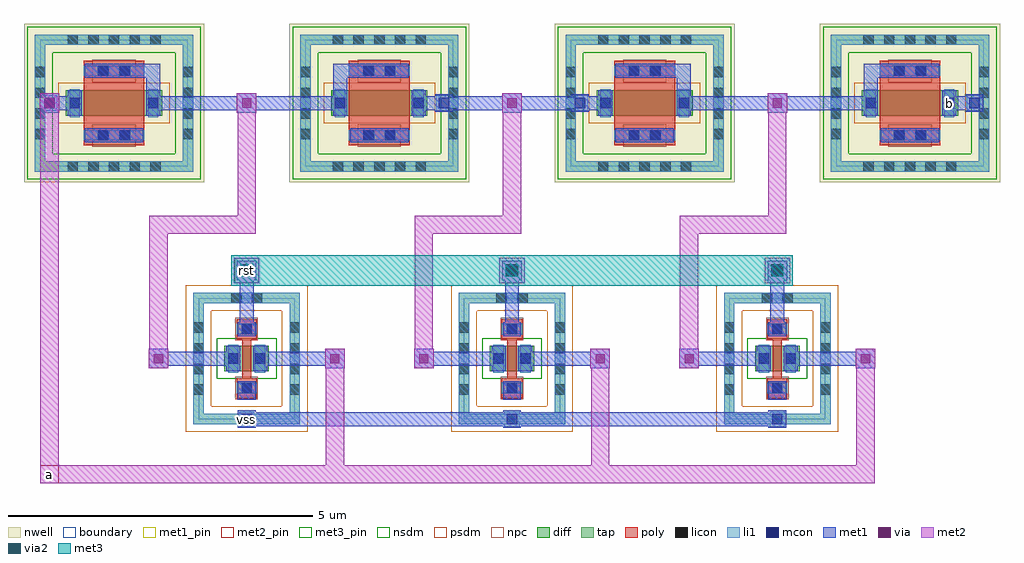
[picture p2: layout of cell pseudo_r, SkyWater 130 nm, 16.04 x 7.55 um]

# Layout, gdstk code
from math import pi, radians
import gdstk
lib = gdstk.Library(unit=1e-6, precision=1e-09)
def R(c, l, rs):  # rectangles x0, y0, x1, y1
    for r in rs: c.add(gdstk.rectangle(r[:2], r[2:], *l))
def A(c, l, x, y, w, h, nx, ny, dx, dy):  # array of equal rectangles
    R(c, l, [(x+i*dx, y+j*dy, x+i*dx+w, y+j*dy+h) for i in range(nx) for j in range(ny)])
nwell = (64, 20)
diff = (65, 20)
tap = (65, 44)
poly = (66, 20)
licon = (66, 44)
li1 = (67, 20)
mcon = (67, 44)
met1_pin = (68, 16)
met1 = (68, 20)
via = (68, 44)
met2_pin = (69, 16)
met2 = (69, 20)
via2 = (69, 44)
met3_pin = (70, 16)
met3 = (70, 20)
nsdm = (93, 44)
psdm = (94, 20)
npc = (95, 20)
boundary = (235, 4)

n042_015 = lib.new_cell('n042_015')
R(n042_015, diff, [(-0.365,-0.21,0.365,0.21)])
R(n042_015, tap, [(-0.875,-1.08,0.875,-0.91), (-0.875,-0.91,-0.705,0.91), (0.705,-0.91,0.875,0.91), (-0.875,0.91,0.875,1.08)])
R(n042_015, poly, [(-0.165,-0.65,0.165,-0.32), (-0.075,-0.32,0.075,0.32), (-0.165,0.32,0.165,0.65)])
A(n042_015, licon, -0.875, -0.595, 0.17, 0.17, 1, 4, 0, 0.34)
A(n042_015, licon, 0.705, -0.595, 0.17, 0.17, 1, 4, 0, 0.34)
R(n042_015, licon, [(-0.085,-0.57,0.085,-0.4), (-0.305,-0.085,-0.135,0.085), (0.135,-0.085,0.305,0.085), (-0.085,0.4,0.085,0.57), (-0.255,0.91,-0.085,1.08), (0.085,0.91,0.255,1.08)])
R(n042_015, li1, [(-0.875,-1.08,0.875,-0.91), (-0.875,-0.91,-0.705,0.91), (0.705,-0.91,0.875,0.91), (-0.165,-0.57,0.165,-0.4), (-0.305,-0.23,-0.135,0.23), (0.135,-0.23,0.305,0.23), (-0.165,0.4,0.165,0.57), (-0.875,0.91,0.875,1.08)])
R(n042_015, mcon, [(-0.085,-0.57,0.085,-0.4), (-0.305,-0.085,-0.135,0.085), (0.135,-0.085,0.305,0.085), (-0.085,0.4,0.085,0.57)])
R(n042_015, met1, [(-0.145,-0.6,0.145,-0.37), (-0.335,-0.21,-0.105,0.21), (0.105,-0.21,0.335,0.21), (-0.145,0.37,0.145,0.6)])
R(n042_015, nsdm, [(-0.49,-0.335,0.49,0.335)])
R(n042_015, psdm, [(-1,-1.205,1,-0.785), (-1,-0.785,-0.58,0.785), (0.58,-0.785,1,0.785), (-1,0.785,1,1.205)])
R(n042_015, npc, [(-0.185,-0.67,0.185,-0.3), (-0.185,0.3,0.185,0.67)])
R(n042_015, boundary, [(-0.79,-0.995,0.79,0.995)])
n042_015.add(gdstk.Label('B', (0,-0.995), layer=65, texttype=5))
n042_015.add(gdstk.Label('D', (-0.22,0), layer=67, texttype=5))
n042_015.add(gdstk.Label('S', (0.22,0), layer=67, texttype=5))
n042_015.add(gdstk.Label('G', (0,0.485), layer=67, texttype=5))

p042_1 = lib.new_cell('p042_1')
R(p042_1, nwell, [(-1.48,-1.305,1.48,1.305)])
R(p042_1, diff, [(-0.79,-0.21,0.79,0.21)])
R(p042_1, tap, [(-1.3,-1.125,1.3,-0.955), (-1.3,-0.955,-1.13,0.955), (1.13,-0.955,1.3,0.955), (-1.3,0.955,1.3,1.125)])
R(p042_1, poly, [(-0.5,-0.695,0.5,0.695)])
A(p042_1, licon, -0.765, -1.125, 0.17, 0.17, 5, 2, 0.34, 2.08)
A(p042_1, licon, -1.3, -0.595, 0.17, 0.17, 1, 4, 0, 0.34)
A(p042_1, licon, 1.13, -0.595, 0.17, 0.17, 1, 4, 0, 0.34)
R(p042_1, licon, [(-0.255,-0.615,-0.085,-0.445), (0.085,-0.615,0.255,-0.445), (-0.73,-0.085,-0.56,0.085), (0.56,-0.085,0.73,0.085), (-0.255,0.445,-0.085,0.615), (0.085,0.445,0.255,0.615)])
R(p042_1, li1, [(-1.3,-1.125,1.3,-0.955), (-1.3,-0.955,-1.13,0.955), (1.13,-0.955,1.3,0.955), (-0.5,-0.615,0.5,-0.445), (-0.73,-0.23,-0.56,0.23), (0.56,-0.23,0.73,0.23), (-0.5,0.445,0.5,0.615), (-1.3,0.955,1.3,1.125)])
R(p042_1, mcon, [(-0.265,-0.615,-0.095,-0.445), (0.095,-0.615,0.265,-0.445), (-0.73,-0.085,-0.56,0.085), (0.56,-0.085,0.73,0.085), (-0.265,0.445,-0.095,0.615), (0.095,0.445,0.265,0.615)])
R(p042_1, met1, [(-0.48,-0.645,0.48,-0.415), (-0.76,-0.21,-0.53,0.21), (0.53,-0.21,0.76,0.21), (-0.48,0.415,0.48,0.645)])
R(p042_1, nsdm, [(-1.425,-1.25,1.425,-0.83), (-1.425,-0.83,-1.005,0.83), (1.005,-0.83,1.425,0.83), (-1.425,0.83,1.425,1.25)])
R(p042_1, psdm, [(-0.915,-0.335,0.915,0.335)])
R(p042_1, npc, [(-0.355,-0.715,0.355,-0.345), (-0.355,0.345,0.355,0.715)])
R(p042_1, boundary, [(-1.215,-1.04,1.215,1.04)])
p042_1.add(gdstk.Label('B', (0,-1.04), layer=67, texttype=5))
p042_1.add(gdstk.Label('D', (-0.645,0), layer=67, texttype=5))
p042_1.add(gdstk.Label('S', (0.645,0), layer=67, texttype=5))
p042_1.add(gdstk.Label('G', (0,0.53), layer=67, texttype=5))

pseudo_r = lib.new_cell('pseudo_r')
A(pseudo_r, li1, 2.055, -5.32, 0.25, 0.25, 3, 1, 4.36, 0)
R(pseudo_r, li1, [(-1.185,-0.125,-0.935,0.125), (5.295,-0.125,5.545,0.125), (7.535,-0.125,7.785,0.125), (14.015,-0.125,14.265,0.125)])
A(pseudo_r, mcon, 2.095, -5.28, 0.17, 0.17, 3, 1, 4.36, 0)
R(pseudo_r, mcon, [(-1.145,-0.085,-0.975,0.085), (5.335,-0.085,5.505,0.085), (7.575,-0.085,7.745,0.085), (14.055,-0.085,14.225,0.085)])
R(pseudo_r, met1_pin, [(2.08,-5.295,2.28,-5.095), (13.61,-0.1,13.84,0.1)])
A(pseudo_r, met1, 2.035, -5.34, 0.29, 0.03, 3, 2, 4.36, 0.26)
A(pseudo_r, met1, 2.035, -4.88, 0.29, 0.31, 3, 1, 4.36, 0)
A(pseudo_r, met1, 2.065, -3.83, 0.23, 0.92, 3, 1, 4.36, 0)
A(pseudo_r, met1, 2.02, -2.91, 0.32, 0.32, 3, 1, 4.36, 0)
A(pseudo_r, met1, 2.02, -0.16, 0.32, 0.045, 3, 2, 4.36, 0.275)
A(pseudo_r, met1, 0.53, -0.115, 3.3, 0.23, 3, 1, 4.36, 0)
R(pseudo_r, met1, [(2.035,-5.31,11.045,-5.08), (0.57,-4.36,0.89,-4.315), (3.47,-4.36,3.79,-4.315), (4.93,-4.36,5.25,-4.315), (7.83,-4.36,8.15,-4.315), (9.29,-4.36,9.61,-4.315), (12.19,-4.36,12.51,-4.315), (0.57,-4.315,2.075,-4.085), (2.285,-4.315,3.79,-4.085), (4.93,-4.315,6.435,-4.085), (6.645,-4.315,8.15,-4.085), (9.29,-4.315,10.795,-4.085), (11.005,-4.315,12.51,-4.085), (0.57,-4.085,0.89,-4.04), (3.47,-4.085,3.79,-4.04), (4.93,-4.085,5.25,-4.04), (7.83,-4.085,8.15,-4.04), (9.29,-4.085,9.61,-4.04), (12.19,-4.085,12.51,-4.04), (0.53,-0.21,0.76,-0.115), (3.6,-0.21,3.83,-0.115), (9.25,-0.21,9.48,-0.115), (12.32,-0.21,12.55,-0.115), (-1.22,-0.16,-0.9,-0.115), (5.275,-0.145,5.565,-0.115), (7.515,-0.145,7.805,-0.115), (13.995,-0.145,14.285,-0.115), (-1.22,-0.115,-0.53,0.115), (13.61,-0.115,14.285,0.115), (-1.22,0.115,-0.9,0.16), (0.53,0.115,0.76,0.415), (3.6,0.115,3.83,0.415), (5.275,0.115,5.565,0.145), (7.515,0.115,7.805,0.145), (9.25,0.115,9.48,0.415), (12.32,0.115,12.55,0.415), (13.995,0.115,14.285,0.145), (0.43,0.415,0.76,0.645), (3.6,0.415,3.93,0.645), (9.15,0.415,9.48,0.645), (12.32,0.415,12.65,0.645)])
A(pseudo_r, via, 2.105, -2.825, 0.15, 0.15, 3, 2, 4.36, 2.75)
R(pseudo_r, via, [(0.655,-4.275,0.805,-4.125), (3.555,-4.275,3.705,-4.125), (5.015,-4.275,5.165,-4.125), (7.915,-4.275,8.065,-4.125), (9.375,-4.275,9.525,-4.125), (12.275,-4.275,12.425,-4.125), (-1.135,-0.075,-0.985,0.075)])
R(pseudo_r, met2_pin, [(-1.21,-6.25,-0.91,-5.95)])
A(pseudo_r, met2, 3.48, -5.95, 0.3, 1.59, 3, 1, 4.36, 0)
A(pseudo_r, met2, 0.58, -4.04, 0.3, 1.89, 3, 1, 4.36, 0)
A(pseudo_r, met2, 1.97, -2.96, 0.42, 0.42, 3, 1, 4.36, 0)
A(pseudo_r, met2, 0.58, -2.15, 1.75, 0.3, 3, 1, 4.36, 0)
A(pseudo_r, met2, 2.03, -1.85, 0.3, 1.69, 3, 1, 4.36, 0)
A(pseudo_r, met2, 2.02, -0.16, 0.32, 0.32, 3, 1, 4.36, 0)
R(pseudo_r, met2, [(-1.21,-6.25,12.5,-5.95), (-1.21,-5.95,-0.91,-0.16), (0.57,-4.36,0.89,-4.04), (3.47,-4.36,3.79,-4.04), (4.93,-4.36,5.25,-4.04), (7.83,-4.36,8.15,-4.04), (9.29,-4.36,9.61,-4.04), (12.19,-4.36,12.51,-4.04), (-1.22,-0.16,-0.9,0.16)])
A(pseudo_r, via2, 2.08, -2.85, 0.2, 0.2, 3, 1, 4.36, 0)
R(pseudo_r, met3_pin, [(1.98,-2.95,2.38,-2.55)])
R(pseudo_r, met3, [(1.93,-3,11.15,-2.5)])
pseudo_r.add(gdstk.Reference(n042_015, (10.9,-4.2)))
pseudo_r.add(gdstk.Reference(n042_015, (6.54,-4.2)))
pseudo_r.add(gdstk.Reference(n042_015, (2.18,-4.2)))
pseudo_r.add(gdstk.Reference(p042_1, (13.08,0)))
pseudo_r.add(gdstk.Reference(p042_1, (4.36,0)))
pseudo_r.add(gdstk.Reference(p042_1, (8.72,0), rotation=pi, x_reflection=True))
pseudo_r.add(gdstk.Reference(p042_1, (0,0), rotation=pi, x_reflection=True))
pseudo_r.add(gdstk.Label('a', (-1.06,-6.1), layer=69, texttype=5))
pseudo_r.add(gdstk.Label('b', (13.725,0), layer=68, texttype=5))
pseudo_r.add(gdstk.Label('rst', (2.18,-2.75), layer=70, texttype=5))
pseudo_r.add(gdstk.Label('vss', (2.18,-5.195), layer=68, texttype=5))

lib.write_gds('pseudo_r.gds')
